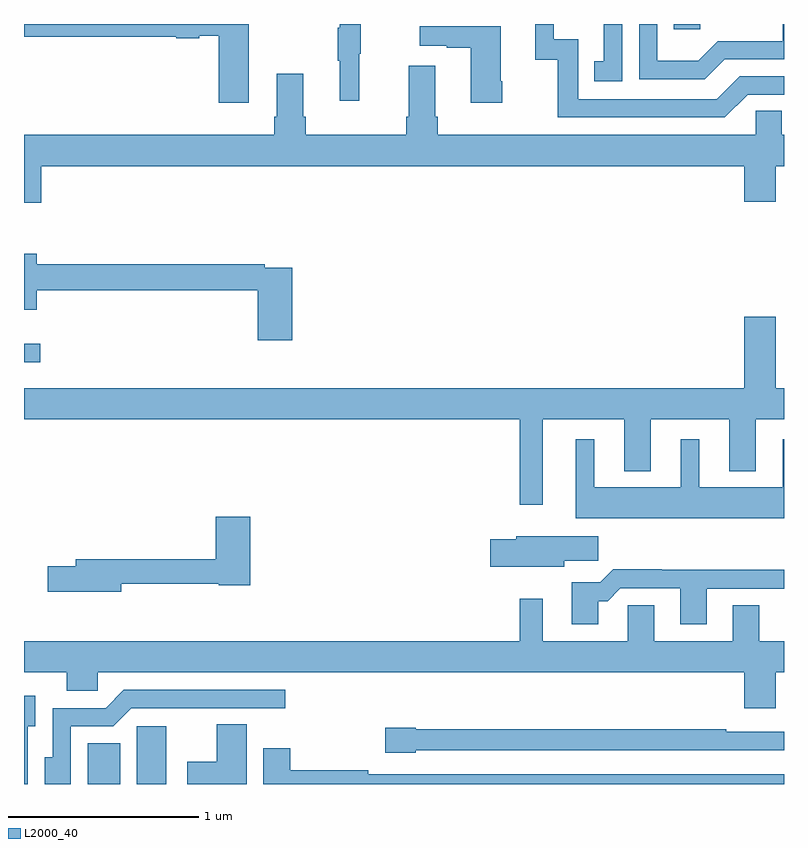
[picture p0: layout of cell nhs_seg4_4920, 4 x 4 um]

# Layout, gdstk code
import gdstk
lib = gdstk.Library(unit=1e-6, precision=1e-09)
def R(c, l, rs):  # rectangles x0, y0, x1, y1
    for r in rs: c.add(gdstk.rectangle(r[:2], r[2:], *l))
def P(c, l, *ps):  # polygons
    for p in ps: c.add(gdstk.Polygon(p, *l))
L2000_40 = (2000, 40)

nhs_seg4_4920 = lib.new_cell('nhs_seg4_4920')
R(nhs_seg4_4920, L2000_40, [(377.336,794.9,377.506,795.115), (377.594,794.9,377.749,795.204), (377,797.12,377.086,797.217), (380.419,798.873,380.559,798.9)])
P(nhs_seg4_4920, L2000_40, [(378.184,798.9),(377,798.9),(377,798.832),(377.802,798.832),(377.802,798.824),(377.922,798.824),(377.922,798.839),(378.026,798.839),(378.026,798.486),(378.184,798.486)],
  [(380.689,798.714),(381,798.714),(381,798.9),(380.994,798.9),(380.994,798.81),(380.652,798.81),(380.548,798.706),(380.334,798.706),(380.334,798.9),(380.238,798.9),(380.238,798.609),(380.584,798.609)],
  [(378.764,798.744),(378.772,798.744),(378.772,798.9),(378.662,798.9),(378.662,798.881),(378.651,798.881),(378.651,798.707),(378.662,798.707),(378.662,798.495),(378.764,798.495)],
  [(380.808,798.528),(381,798.528),(381,798.624),(380.766,798.624),(380.646,798.504),(379.917,798.504),(379.917,798.819),(379.788,798.819),(379.788,798.9),(379.691,798.9),(379.691,798.711),(379.809,798.711),(379.809,798.408),(380.688,798.408)],
  [(380.148,798.9),(380.051,798.9),(380.051,798.705),(380.002,798.705),(380.002,798.6),(380.148,798.6)],
  [(379.518,798.598),(379.51,798.598),(379.51,798.889),(379.083,798.889),(379.083,798.785),(379.226,798.785),(379.226,798.775),(379.352,798.775),(379.352,798.486),(379.518,798.486)],
  [(377.09,798.152),(380.792,798.152),(380.792,797.964),(380.956,797.964),(380.956,798.152),(381,798.152),(381,798.316),(380.989,798.316),(380.989,798.443),(380.85,798.443),(380.85,798.316),(379.178,798.316),(379.178,798.412),(379.165,798.412),(379.165,798.679),(379.025,798.679),(379.025,798.412),(379.013,798.412),(379.013,798.316),(378.482,798.316),(378.482,798.412),(378.469,798.412),(378.469,798.637),(378.329,798.637),(378.329,798.412),(378.317,798.412),(378.317,798.316),(377,798.316),(377,797.958),(377.09,797.958)],
  [(378.413,797.616),(378.266,797.616),(378.266,797.636),(377.068,797.636),(377.068,797.692),(377,797.692),(377,797.396),(377.068,797.396),(377.068,797.5),(378.23,797.5),(378.23,797.235),(378.413,797.235)],
  [(379.729,796.82),(380.159,796.82),(380.159,796.547),(380.299,796.547),(380.299,796.82),(380.711,796.82),(380.711,796.547),(380.851,796.547),(380.851,796.82),(381,796.82),(381,796.984),(380.956,796.984),(380.956,797.359),(380.792,797.359),(380.792,796.984),(377,796.984),(377,796.82),(379.608,796.82),(379.608,796.371),(379.729,796.371)],
  [(381,796.714),(380.993,796.714),(380.993,796.462),(380.554,796.462),(380.554,796.714),(380.456,796.714),(380.456,796.462),(380.002,796.462),(380.002,796.714),(379.904,796.714),(379.904,796.298),(381,796.298)],
  [(377.512,795.954),(378.024,795.954),(378.024,795.946),(378.191,795.946),(378.191,796.306),(378.008,796.306),(378.008,796.082),(377.273,796.082),(377.273,796.046),(377.124,796.046),(377.124,795.911),(377.512,795.911)],
  [(379.843,796.075),(380.023,796.075),(380.023,796.204),(379.592,796.204),(379.592,796.187),(379.455,796.187),(379.455,796.043),(379.843,796.043)],
  [(380.023,795.863),(380.072,795.863),(380.139,795.93),(380.453,795.93),(380.453,795.741),(380.593,795.741),(380.593,795.927),(381,795.927),(381,796.028),(380.357,796.028),(380.357,796.031),(380.102,796.031),(380.032,795.961),(379.883,795.961),(379.883,795.741),(380.023,795.741)],
  [(380.178,795.842),(380.178,795.652),(379.729,795.652),(379.729,795.874),(379.608,795.874),(379.608,795.652),(377,795.652),(377,795.488),(377.225,795.488),(377.225,795.39),(377.388,795.39),(377.388,795.488),(380.792,795.488),(380.792,795.3),(380.956,795.3),(380.956,795.488),(381,795.488),(381,795.652),(380.869,795.652),(380.869,795.842),(380.729,795.842),(380.729,795.652),(380.317,795.652),(380.317,795.842)],
  [(377.247,795.204),(377.469,795.204),(377.565,795.3),(378.376,795.3),(378.376,795.396),(377.526,795.396),(377.43,795.3),(377.15,795.3),(377.15,795.04),(377.108,795.04),(377.108,794.9),(377.247,794.9)],
  [(377.019,795.203),(377.059,795.203),(377.059,795.364),(377,795.364),(377,794.9),(377.019,794.9)],
  [(378.172,795.215),(378.014,795.215),(378.014,795.016),(377.859,795.016),(377.859,794.9),(378.172,794.9)],
  [(379.062,795.078),(381,795.078),(381,795.174),(380.696,795.174),(380.696,795.187),(379.062,795.187),(379.062,795.195),(378.9,795.195),(378.9,795.065),(379.062,795.065)],
  [(381,794.952),(378.812,794.952),(378.812,794.972),(378.401,794.972),(378.401,795.088),(378.26,795.088),(378.26,794.9),(381,794.9)])

lib.write_gds('nhs_seg4_4920.gds')
